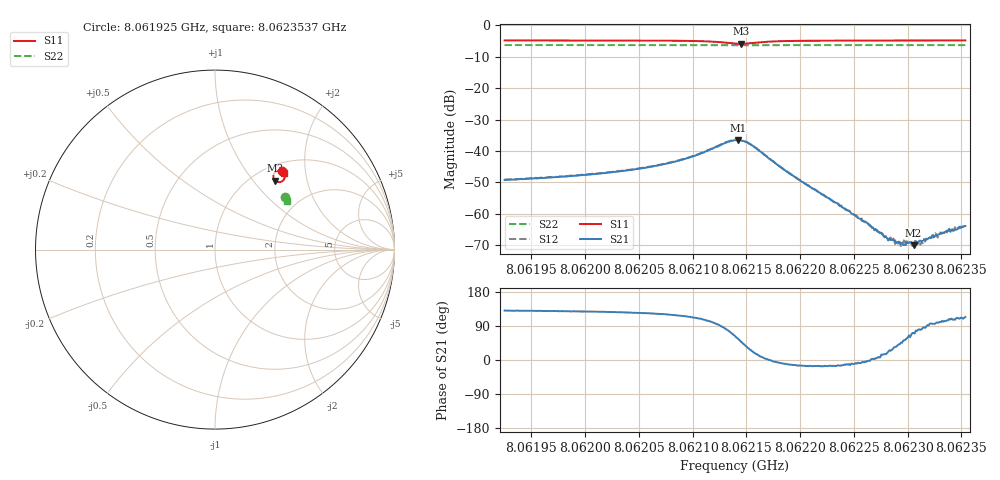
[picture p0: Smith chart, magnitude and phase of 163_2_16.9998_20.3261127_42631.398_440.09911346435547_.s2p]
#  HZ  S  RI  R  50.00
! Rohde & Schwarz Vector Network Analyzer
! Rohde-Schwarz,ZNB20-2Port,1311601062101988,3.16
! Created: UTC 3/20/2024, 10:59:20 PM
! freq[Hz]  re:S11  im:S11  re:S21  im:S21  re:S12  im:S12  re:S22  im:S22
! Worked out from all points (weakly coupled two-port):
!   401 points, 8.061925 GHz to 8.0623537 GHz, reference 50 ohm
!   highest |S21| = -36.51 dB at 8.0621426 GHz (marker M1); lowest = -70.1 dB at 8.0623055 GHz (marker M2)
!   lowest |S11| = -5.8 dB at 8.0621447 GHz (marker M3), VSWR 3.08, Z = 62.9 + j65.2 ohm
!   |S11| at or under -10 dB: nowhere
!   |S22| runs from -6.3 to -6.3 dB; largest |S21 - S12| = 0.0011
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8.06192502e9  0.3714 0.4397  -0.00224 0.0026  -0.00209 0.00279  0.3876 0.2926
8.06199683e9  0.3776 0.434  -0.00253 0.00322  -0.00237 0.00343  0.3901 0.2891
8.06203541e9  0.3814 0.4294  -0.00279 0.00389  -0.00259 0.00406  0.3914 0.2871
8.06206864e9  0.3853 0.423  -0.00309 0.00503  -0.00283 0.00526  0.3927 0.285
8.06209972e9  0.3887 0.4105  -0.00313 0.00748  -0.00269 0.00779  0.3935 0.2832
8.0621308e9  0.3716 0.3794  0.00189 0.0133  0.00271 0.0135  0.3932 0.2806
8.06213937e9  0.3502 0.3765  0.00663 0.0133  0.00762 0.013  0.3924 0.2805
8.06214259e9  0.3411 0.38  0.00857 0.0122  0.0094 0.0117  0.3924 0.2807
8.06214473e9  0.3357 0.3839  0.00966 0.0111  0.0104 0.0106  0.3922 0.2809
8.06215545e9  0.3252 0.4111  0.0112 0.00475  0.0114 0.004  0.3925 0.2816
8.06218438e9  0.3511 0.439  0.00501 -0.000842  0.00506 -0.00113  0.3951 0.281
8.06221118e9  0.3644 0.4389  0.00242 -0.000709  0.00242 -0.000861  0.3964 0.2794
8.06226262e9  0.3754 0.4344  0.000703 -3.27e-05  0.000696 -9.55e-05  0.3984 0.2769
8.06228299e9  0.3781 0.4329  0.000361 0.000172  0.000374 0.000139  0.3992 0.2758
8.06228513e9  0.3785 0.4329  0.000343 0.000172  0.000356 0.000132  0.3992 0.2757
8.06229156e9  0.3791 0.4322  0.00027 0.000232  0.000283 0.000191  0.3994 0.2754
8.06229585e9  0.3798 0.432  0.000201 0.000243  0.000259 0.00023  0.3995 0.2752
8.06230549e9  0.3806 0.4313  9.79e-05 0.000296  0.000116 0.000297  0.3999 0.2747
8.06231192e9  0.3813 0.4308  6.74e-05 0.000377  7.84e-05 0.00031  0.4001 0.2743
8.06231728e9  0.3818 0.4306  1.35e-05 0.000399  3.49e-05 0.000393  0.4002 0.2739
8.06233657e9  0.3835 0.4293  -0.000134 0.000516  -0.000123 0.000485  0.4009 0.2729
8.06235372e9  0.385 0.4281  -0.000253 0.000581  -0.000198 0.000589  0.4014 0.2721
